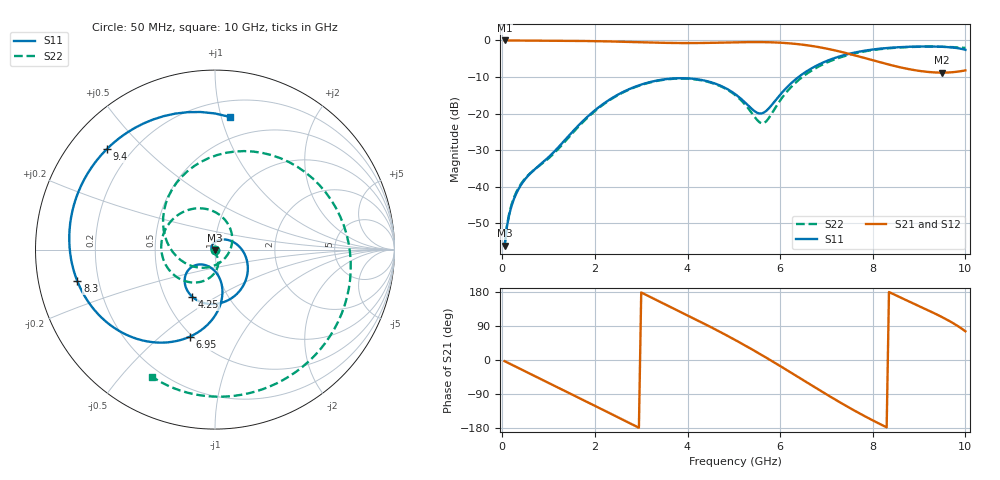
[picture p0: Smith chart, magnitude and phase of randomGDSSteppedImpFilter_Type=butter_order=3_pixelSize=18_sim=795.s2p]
! freq	dB(S11)	phase(S11)	dB(S12)	phase(S12)
!  dB(S21)	phase(S21)	dB(S22)	phase(S22)
!S-par simulation data
#  GHz  S  DB  R 50
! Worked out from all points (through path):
!   200 points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, 50 MHz to 10 GHz, reference 50 ohm
!   highest |S21| = -0.01 dB at 50 MHz (marker M1); lowest = -8.8 dB at 9.5 GHz (marker M2)
!   group delay of S21, straight-line fit = 181 ps
!   lowest |S11| = -56.2 dB at 50 MHz (marker M3), VSWR 1.00, Z = 50 - j0.151 ohm
!   |S11| at or under -10 dB: start of sweep to 6.398 GHz
!   |S22| runs from -56.3 to -1.7 dB; largest |S21 - S12| = 0
!   S11 on the Smith chart (normalised r, x): 50 MHz: 1.00, -0.00; 4.25 GHz: 0.68, -0.39; 6.95 GHz: 0.48, -0.63; 8.3 GHz: 0.12, -0.11; 9.4 GHz: 0.11, +0.39; 10 GHz: 0.32, +1.06
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0.05  -56.16 -75.5  -0.01 -3.1  -0.01 -3.1  -56.31 -69.3
0.15  -47.66 -99.3  -0.02 -9.1  -0.02 -9.1  -47.32 -84.9
0.4  -39.61 -133.7  -0.04 -24.1  -0.04 -24.1  -39.34 -92.2
1.1  -30.70 124.4  -0.08 -66.1  -0.08 -66.1  -31.10 -79.2
1.75  -21.95 44.7  -0.15 -105.5  -0.15 -105.5  -22.23 -76.4
2.6  -14.15 -22.7  -0.36 -157.5  -0.36 -157.5  -14.28 -112.7
3.4  -10.83 -72.1  -0.63 154.0  -0.63 154.0  -10.94 -159.7
4.25  -10.70 -115.7  -0.71 102.6  -0.71 102.6  -10.82 142.4
4.65  -12.06 -132.5  -0.62 77.6  -0.62 77.6  -12.20 110.4
5.05  -14.89 -142.9  -0.51 51.4  -0.51 51.4  -15.17 71.2
5.65  -19.74 -103.3  -0.46 9.7  -0.46 9.7  -22.62 -55.1
6.1  -13.43 -79.3  -0.69 -23.3  -0.69 -23.3  -14.73 -156.1
6.7  -7.48 -95.9  -1.54 -68.3  -1.54 -68.3  -8.08 130.9
6.95  -5.92 -106.2  -2.10 -86.9  -2.10 -86.9  -6.39 104.1
7.5  -3.63 -130.8  -3.71 -126.4  -3.71 -126.4  -3.89 49.7
7.9  -2.66 -148.9  -5.09 -153.0  -5.09 -153.0  -2.83 14.8
8.3  -2.08 -167.1  -6.46 -177.7  -6.46 -177.7  -2.20 -16.2
8.35  -2.03 -169.3  -6.62 179.4  -6.62 179.4  -2.14 -19.8
8.9  -1.69 164.7  -8.13 147.9  -8.13 147.9  -1.76 -56.2
9.4  -1.69 137.1  -8.79 119.1  -8.79 119.1  -1.71 -85.1
9.5  -1.74 130.5  -8.81 112.9  -8.81 112.9  -1.73 -90.6
10  -2.57 83.7  -8.20 75.8  -8.20 75.8  -2.04 -116.1
